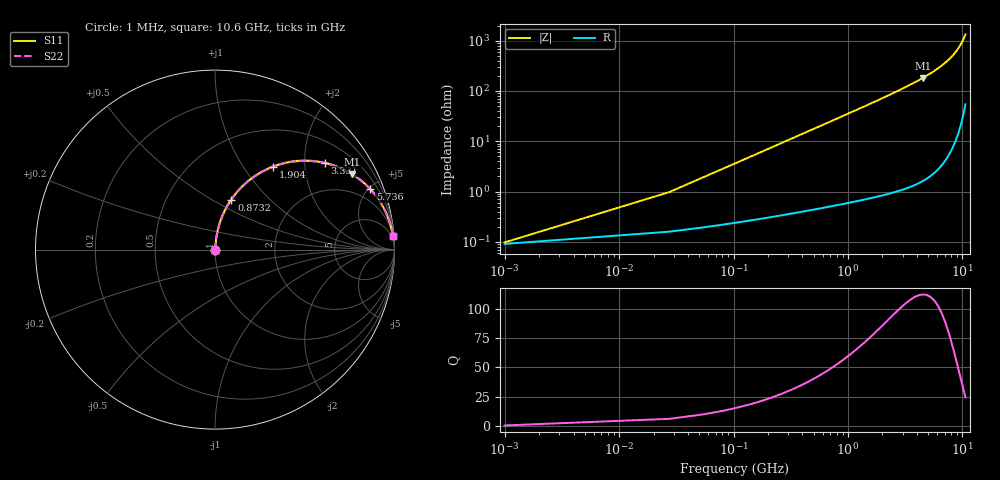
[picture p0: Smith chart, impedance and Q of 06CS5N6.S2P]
! Coilcraft 0603CS-5N6 Chip Inductor
! 03 April 2003
# MHZ S MA R 50
!Freq  MagS11  AngS11  MagS21  AngS21  MagS12  AngS12  MagS22  AngS22
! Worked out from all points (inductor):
!   403 points, 1 MHz to 10.6 GHz, reference 50 ohm
!   read as one part in series: L = 5.6 nH near 53.86 MHz
!   highest Q = 112 at 4.494 GHz (marker M1), where L = 6.43 nH
!   S11 on the Smith chart (normalised r, x): 1 MHz: 1.00, +0.00; 873.2 MHz: 1.01, +0.62; 1.904 GHz: 1.02, +1.37; 3.331 GHz: 1.02, +2.52; 5.736 GHz: 1.05, +5.12; 10.6 GHz: 2, +27
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1  0.0009766 21.1  0.9991 -0.0  0.9991 -0.0  0.0009766 21.1
27.43  0.009767 80.0  0.9984 -0.6  0.9984 -0.6  0.009767 80.0
80.29  0.02826 83.9  0.9974 -1.6  0.9974 -1.6  0.02826 83.9
106.72  0.03751 84.2  0.9969 -2.1  0.9969 -2.1  0.03751 84.2
133.15  0.04675 84.1  0.9963 -2.7  0.9963 -2.7  0.04675 84.1
186.01  0.0652 83.7  0.9949 -3.7  0.9949 -3.7  0.0652 83.7
291.73  0.1019 82.2  0.9913 -5.8  0.9913 -5.8  0.1019 82.2
450.31  0.1561 79.5  0.9836 -9.0  0.9836 -9.0  0.1561 79.5
635.32  0.2177 76.2  0.9713 -12.6  0.9713 -12.6  0.2177 76.2
873.19  0.2936 71.9  0.9506 -17.1  0.9506 -17.1  0.2936 71.9
1269.64  0.4092 65.0  0.9064 -24.2  0.9064 -24.2  0.4092 65.0
1771.81  0.5338 57.0  0.839 -32.3  0.839 -32.3  0.5338 57.0
1903.96  0.5625 55.1  0.8201 -34.2  0.8201 -34.2  0.5625 55.1
2538.28  0.6781 46.7  0.7279 -42.7  0.7279 -42.7  0.6781 46.7
3331.18  0.7802 38.2  0.6182 -51.3  0.6182 -51.3  0.7802 38.2
3542.62  0.8012 36.2  0.591 -53.2  0.591 -53.2  0.8012 36.2
4494.1  0.8728 28.7  0.4804 -60.8  0.4804 -60.8  0.8728 28.7
5313.43  0.9129 23.6  0.3999 -65.9  0.3999 -65.9  0.9129 23.6
5736.31  0.9284 21.3  0.3629 -68.2  0.3629 -68.2  0.9284 21.3
7084.24  0.9622 15.2  0.2618 -74.2  0.2618 -74.2  0.9622 15.2
8855.05  0.9847 9.0  0.1572 -79.9  0.1572 -79.9  0.9847 9.0
10600  0.9942 4.3  0.07461 -83.4  0.07461 -83.4  0.9942 4.3
